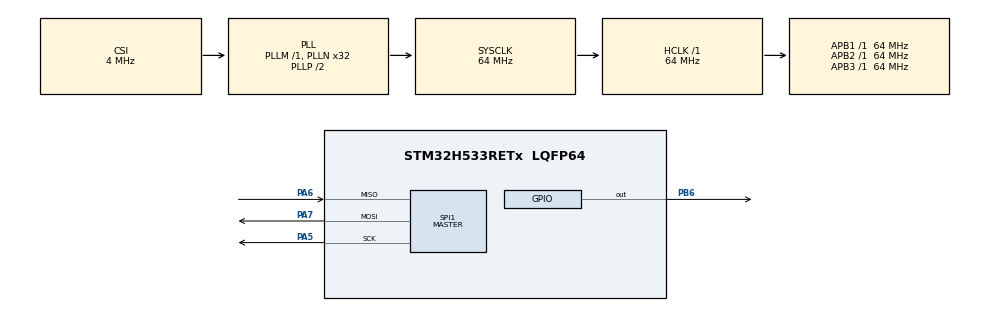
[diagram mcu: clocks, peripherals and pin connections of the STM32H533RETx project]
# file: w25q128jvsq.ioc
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CORTEX_M33_NS.userName=CORTEX_M33
GPDMA1.DESTINC_GPDMACH1=DMA_DINC_INCREMENTED
GPDMA1.DIRECTION_GPDMACH0=DMA_MEMORY_TO_PERIPH
GPDMA1.IPHANDLE_GPDMACH0-SIMPLEREQUEST_GPDMACH0=__NULL
GPDMA1.IPHANDLE_GPDMACH1-SIMPLEREQUEST_GPDMACH1=__NULL
GPDMA1.REQUEST_GPDMACH0=GPDMA1_REQUEST_SPI1_TX
GPDMA1.REQUEST_GPDMACH1=GPDMA1_REQUEST_SPI1_RX
GPDMA1.SRCINC_GPDMACH0=DMA_SINC_INCREMENTED
Mcu.Family=STM32H5
Mcu.Name=STM32H533RETx
Mcu.Package=LQFP64
NUCLEO-H533RE.VCP=true
NVIC.GPDMA1_Channel0_IRQn=true\:0\:0\:false\:false\:true\:false\:true\:true
NVIC.GPDMA1_Channel1_IRQn=true\:0\:0\:false\:false\:true\:false\:true\:true
NVIC.PriorityGroup=NVIC_PRIORITYGROUP_4
NVIC.SPI1_IRQn=true\:0\:0\:false\:false\:true\:true\:true\:true
PA13(JTMS/SWDIO).GPIO_Label=SWDIO
PA13(JTMS/SWDIO).Mode=Serial_Wire
PA13(JTMS/SWDIO).Signal=DEBUG_JTMS-SWDIO
PA14(JTCK/SWCLK).GPIO_Label=SWCLK
PA14(JTCK/SWCLK).Mode=Serial_Wire
PA14(JTCK/SWCLK).Signal=DEBUG_JTCK-SWCLK
PA15(JTDI).GPIO_Label=JTDI
PA15(JTDI).Signal=DEBUG_JTDI
PA2.Signal=USART2_TX
PA3.Signal=USART2_RX
PA5.Mode=Full_Duplex_Master
PA5.Signal=SPI1_SCK
PA6.Mode=Full_Duplex_Master
PA6.Signal=SPI1_MISO
PA7.Mode=Full_Duplex_Master
PA7.Signal=SPI1_MOSI
PB3(JTDO/TRACESWO).GPIO_Label=SWO
PB3(JTDO/TRACESWO).Signal=DEBUG_JTDO-SWO
PB6.GPIO_Speed=GPIO_SPEED_FREQ_HIGH
PB6.PinState=GPIO_PIN_SET
PB6.Signal=GPIO_Output
PC14-OSC32_IN(OSC32_IN).Mode=LSE-External-Oscillator
PC14-OSC32_IN(OSC32_IN).Signal=RCC_OSC32_IN
PC15-OSC32_OUT(OSC32_OUT).Mode=LSE-External-Oscillator
PC15-OSC32_OUT(OSC32_OUT).Signal=RCC_OSC32_OUT
ProjectManager.HeapSize=0x200
ProjectManager.StackSize=0x400
ProjectManager.TargetToolchain=STM32CubeIDE
RCC.ADCFreq_Value=64000000
RCC.AHBFreq_Value=64000000
RCC.APB1Freq_Value=64000000
RCC.APB1TimFreq_Value=64000000
RCC.APB2Freq_Value=64000000
RCC.APB2TimFreq_Value=64000000
RCC.APB3Freq_Value=64000000
RCC.CSI_VALUE=4000000
RCC.CortexFreq_Value=64000000
RCC.EPOD_VALUE=4000000
RCC.HCLKFreq_Value=64000000
RCC.HSE_VALUE=25000000
RCC.HSI48_VALUE=48000000
RCC.HSI_VALUE=64000000
RCC.LSIRC_VALUE=32000
RCC.PLL1Q=3
RCC.PLL2FRACN=0
RCC.PLL3FRACN=0
RCC.PLLFRACN=0
RCC.PLLN=32
RCC.SYSCLKFreq_VALUE=64000000
RCC.SYSCLKSource=RCC_SYSCLKSOURCE_PLLCLK
RCC.USBFreq_Value=48000000
RCC.VCOOutputFreq_Value=128000000
SPI1.CalculateBaudRate=21.333332 MBits/s
SPI1.DataSize=SPI_DATASIZE_8BIT
SPI1.Direction=SPI_DIRECTION_2LINES
SPI1.FifoThreshold=SPI_FIFO_THRESHOLD_08DATA
SPI1.Mode=SPI_MODE_MASTER
SPI1.VirtualType=VM_MASTER
VP_BOOTPATH_VS_BOOTPATH.Mode=BP_Activate
VP_CORTEX_M33_NS_VS_Hclk.Mode=Hclk_Mode
VP_GPDMA1_VS_GPDMACH0.Mode=SIMPLEREQUEST_GPDMACH0
VP_GPDMA1_VS_GPDMACH1.Mode=SIMPLEREQUEST_GPDMACH1
VP_ICACHE_VS_ICACHE.Mode=DirectMappedCache
VP_MEMORYMAP_VS_MEMORYMAP.Mode=CurAppReg
VP_NUCLEO-H533RE_VS_BSP_COMMON.Mode=COMMON
VP_PWR_VS_LPOM.Mode=PowerOptimisation
VP_PWR_VS_SECSignals.Mode=Security/Privilege
board=NUCLEO-H533RE

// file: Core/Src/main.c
/* USER CODE BEGIN Header */
/**
  ******************************************************************************
  * @file           : main.c
  * @brief          : Main program body
  ******************************************************************************
  * @attention
  *
  * Copyright (c) 2026 STMicroelectronics.
  * All rights reserved.
  *
  * This software is licensed under terms that can be found in the LICENSE file
  * in the root directory of this software component.
  * If no LICENSE file comes with this software, it is provided AS-IS.
  *
  ******************************************************************************
  */
/* USER CODE END Header */
#include "main.h"

/* USER CODE BEGIN Includes */
#include "driver_w25qxx_basic.h"
/* USER CODE END Includes */

COM_InitTypeDef BspCOMInit;

SPI_HandleTypeDef hspi1;
DMA_HandleTypeDef handle_GPDMA1_Channel1;
DMA_HandleTypeDef handle_GPDMA1_Channel0;

void SystemClock_Config(void);
static void MX_GPIO_Init(void);
static void MX_GPDMA1_Init(void);
static void MX_ICACHE_Init(void);
static void MX_SPI1_Init(void);

int main(void)
{

  /* MCU Configuration--------------------------------------------------------*/

  /* Reset of all peripherals, Initializes the Flash interface and the Systick. */
  HAL_Init();

  /* Configure the system clock */
  SystemClock_Config();

  /* Initialize all configured peripherals */
  MX_GPIO_Init();
  MX_GPDMA1_Init();
  MX_ICACHE_Init();
  MX_SPI1_Init();
  /* USER CODE BEGIN 2 */

  /* Initialize COM1 port (115200, 8 bits (7-bit data + 1 stop bit), no parity */
  BspCOMInit.BaudRate   = 115200;
  BspCOMInit.WordLength = COM_WORDLENGTH_8B;
  BspCOMInit.StopBits   = COM_STOPBITS_1;
  BspCOMInit.Parity     = COM_PARITY_NONE;
  BspCOMInit.HwFlowCtl  = COM_HWCONTROL_NONE;
  if (BSP_COM_Init(COM1, &BspCOMInit) != BSP_ERROR_NONE)
  {
    Error_Handler();
  }

  /* Enable DWT cycle counter for microsecond delay */
  CoreDebug->DEMCR |= CoreDebug_DEMCR_TRCENA_Msk;
  DWT->CYCCNT = 0;
  DWT->CTRL |= DWT_CTRL_CYCCNTENA_Msk;

  printf("W25Q128JVSQ basic example\r\n");

  /* Init W25Q128 via SPI, no dual/quad */
  if (w25qxx_basic_init(W25Q128, W25QXX_INTERFACE_SPI, W25QXX_BOOL_FALSE) != 0)
  {
    printf("w25qxx basic init failed.\r\n");
    Error_Handler();
  }
  printf("w25qxx basic init ok.\r\n");

  /* Read manufacturer and device ID */
  uint8_t manufacturer = 0;
  uint8_t device_id = 0;
  if (w25qxx_basic_get_id(&manufacturer, &device_id) != 0)
  {
    printf("w25qxx get id failed.\r\n");
  }
  else
  {
    printf("manufacturer: 0x%02X, device_id: 0x%02X\r\n", manufacturer, device_id);
  }

  /* Write and read back test at address 0x00000000 */
  uint8_t write_buf[16] = {0x01, 0x02, 0x03, 0x04, 0x05, 0x06, 0x07, 0x08,
                           0x09, 0x0A, 0x0B, 0x0C, 0x0D, 0x0E, 0x0F, 0x10};
  uint8_t read_buf[16] = {0};
  uint32_t test_addr = 0x00000000;

  printf("writing 16 bytes to addr 0x%08lX ...\r\n", test_addr);
  if (w25qxx_basic_write(test_addr, write_buf, 16) != 0)
  {
    printf("w25qxx write failed.\r\n");
  }
  else
  {
    printf("write ok.\r\n");
  }

  printf("reading 16 bytes from addr 0x%08lX ...\r\n", test_addr);
  if (w25qxx_basic_read(test_addr, read_buf, 16) != 0)
  {
    printf("w25qxx read failed.\r\n");
  }
  else
  {
    printf("read data: ");
    for (int i = 0; i < 16; i++)
    {
      printf("0x%02X ", read_buf[i]);
    }
    printf("\r\n");

    /* Verify */
    if (memcmp(write_buf, read_buf, 16) == 0)
    {
      printf("write/read verify ok!\r\n");
    }
    else
    {
      printf("write/read verify FAILED!\r\n");
    }
  }

  /* USER CODE END 2 */

  /* Infinite loop */
  while (1)
  {

    /* USER CODE BEGIN 3 */
    HAL_Delay(1000);
  }
  /* USER CODE END 3 */
}

void SystemClock_Config(void)
{
  RCC_OscInitTypeDef RCC_OscInitStruct = {0};
  RCC_ClkInitTypeDef RCC_ClkInitStruct = {0};

  /** Configure the main internal regulator output voltage
  */
  __HAL_PWR_VOLTAGESCALING_CONFIG(PWR_REGULATOR_VOLTAGE_SCALE3);

  while(!__HAL_PWR_GET_FLAG(PWR_FLAG_VOSRDY)) {}

  /** Initializes the RCC Oscillators according to the specified parameters
  * in the RCC_OscInitTypeDef structure.
  */
  RCC_OscInitStruct.OscillatorType = RCC_OSCILLATORTYPE_CSI;
  RCC_OscInitStruct.CSIState = RCC_CSI_ON;
  RCC_OscInitStruct.CSICalibrationValue = RCC_CSICALIBRATION_DEFAULT;
  RCC_OscInitStruct.PLL.PLLState = RCC_PLL_ON;
  RCC_OscInitStruct.PLL.PLLSource = RCC_PLL1_SOURCE_CSI;
  RCC_OscInitStruct.PLL.PLLM = 1;
  RCC_OscInitStruct.PLL.PLLN = 32;
  RCC_OscInitStruct.PLL.PLLP = 2;
  RCC_OscInitStruct.PLL.PLLQ = 3;
  RCC_OscInitStruct.PLL.PLLR = 2;
  RCC_OscInitStruct.PLL.PLLRGE = RCC_PLL1_VCIRANGE_2;
  RCC_OscInitStruct.PLL.PLLVCOSEL = RCC_PLL1_VCORANGE_WIDE;
  RCC_OscInitStruct.PLL.PLLFRACN = 0;
  if (HAL_RCC_OscConfig(&RCC_OscInitStruct) != HAL_OK)
  {
    Error_Handler();
  }

  /** Initializes the CPU, AHB and APB buses clocks
  */
  RCC_ClkInitStruct.ClockType = RCC_CLOCKTYPE_HCLK|RCC_CLOCKTYPE_SYSCLK
                              |RCC_CLOCKTYPE_PCLK1|RCC_CLOCKTYPE_PCLK2
                              |RCC_CLOCKTYPE_PCLK3;
  RCC_ClkInitStruct.SYSCLKSource = RCC_SYSCLKSOURCE_PLLCLK;
  RCC_ClkInitStruct.AHBCLKDivider = RCC_SYSCLK_DIV1;
  RCC_ClkInitStruct.APB1CLKDivider = RCC_HCLK_DIV1;
  RCC_ClkInitStruct.APB2CLKDivider = RCC_HCLK_DIV1;
  RCC_ClkInitStruct.APB3CLKDivider = RCC_HCLK_DIV1;

  if (HAL_RCC_ClockConfig(&RCC_ClkInitStruct, FLASH_LATENCY_3) != HAL_OK)
  {
    Error_Handler();
  }

  /** Configure the programming delay
  */
  __HAL_FLASH_SET_PROGRAM_DELAY(FLASH_PROGRAMMING_DELAY_1);
}

static void MX_GPDMA1_Init(void)
{

  /* Peripheral clock enable */
  __HAL_RCC_GPDMA1_CLK_ENABLE();

  /* GPDMA1 interrupt Init */
    HAL_NVIC_SetPriority(GPDMA1_Channel0_IRQn, 0, 0);
    HAL_NVIC_EnableIRQ(GPDMA1_Channel0_IRQn);
    HAL_NVIC_SetPriority(GPDMA1_Channel1_IRQn, 0, 0);
    HAL_NVIC_EnableIRQ(GPDMA1_Channel1_IRQn);

}

static void MX_ICACHE_Init(void)
{

  /** Enable instruction cache in 1-way (direct mapped cache)
  */
  if (HAL_ICACHE_ConfigAssociativityMode(ICACHE_1WAY) != HAL_OK)
  {
    Error_Handler();
  }
  if (HAL_ICACHE_Enable() != HAL_OK)
  {
    Error_Handler();
  }

}

static void MX_SPI1_Init(void)
{

  /* SPI1 parameter configuration*/
  hspi1.Instance = SPI1;
  hspi1.Init.Mode = SPI_MODE_MASTER;
  hspi1.Init.Direction = SPI_DIRECTION_2LINES;
  hspi1.Init.DataSize = SPI_DATASIZE_8BIT;
  hspi1.Init.CLKPolarity = SPI_POLARITY_LOW;
  hspi1.Init.CLKPhase = SPI_PHASE_1EDGE;
  hspi1.Init.NSS = SPI_NSS_SOFT;
  hspi1.Init.BaudRatePrescaler = SPI_BAUDRATEPRESCALER_2;
  hspi1.Init.FirstBit = SPI_FIRSTBIT_MSB;
  hspi1.Init.TIMode = SPI_TIMODE_DISABLE;
  hspi1.Init.CRCCalculation = SPI_CRCCALCULATION_DISABLE;
  hspi1.Init.CRCPolynomial = 0x7;
  hspi1.Init.NSSPMode = SPI_NSS_PULSE_ENABLE;
  hspi1.Init.NSSPolarity = SPI_NSS_POLARITY_LOW;
  hspi1.Init.FifoThreshold = SPI_FIFO_THRESHOLD_08DATA;
  hspi1.Init.MasterSSIdleness = SPI_MASTER_SS_IDLENESS_00CYCLE;
  hspi1.Init.MasterInterDataIdleness = SPI_MASTER_INTERDATA_IDLENESS_00CYCLE;
  hspi1.Init.MasterReceiverAutoSusp = SPI_MASTER_RX_AUTOSUSP_DISABLE;
  hspi1.Init.MasterKeepIOState = SPI_MASTER_KEEP_IO_STATE_DISABLE;
  hspi1.Init.IOSwap = SPI_IO_SWAP_DISABLE;
  hspi1.Init.ReadyMasterManagement = SPI_RDY_MASTER_MANAGEMENT_INTERNALLY;
  hspi1.Init.ReadyPolarity = SPI_RDY_POLARITY_HIGH;
  if (HAL_SPI_Init(&hspi1) != HAL_OK)
  {
    Error_Handler();
  }

}

static void MX_GPIO_Init(void)
{
  GPIO_InitTypeDef GPIO_InitStruct = {0};

  /* GPIO Ports Clock Enable */
  __HAL_RCC_GPIOC_CLK_ENABLE();
  __HAL_RCC_GPIOA_CLK_ENABLE();
  __HAL_RCC_GPIOB_CLK_ENABLE();

  /*Configure GPIO pin Output Level */
  HAL_GPIO_WritePin(GPIOB, GPIO_PIN_6, GPIO_PIN_SET);

  /*Configure GPIO pin : PB6 */
  GPIO_InitStruct.Pin = GPIO_PIN_6;
  GPIO_InitStruct.Mode = GPIO_MODE_OUTPUT_PP;
  GPIO_InitStruct.Pull = GPIO_NOPULL;
  GPIO_InitStruct.Speed = GPIO_SPEED_FREQ_HIGH;
  HAL_GPIO_Init(GPIOB, &GPIO_InitStruct);

}

void Error_Handler(void)
{
  __disable_irq();
  while (1)
  {
  }
}
